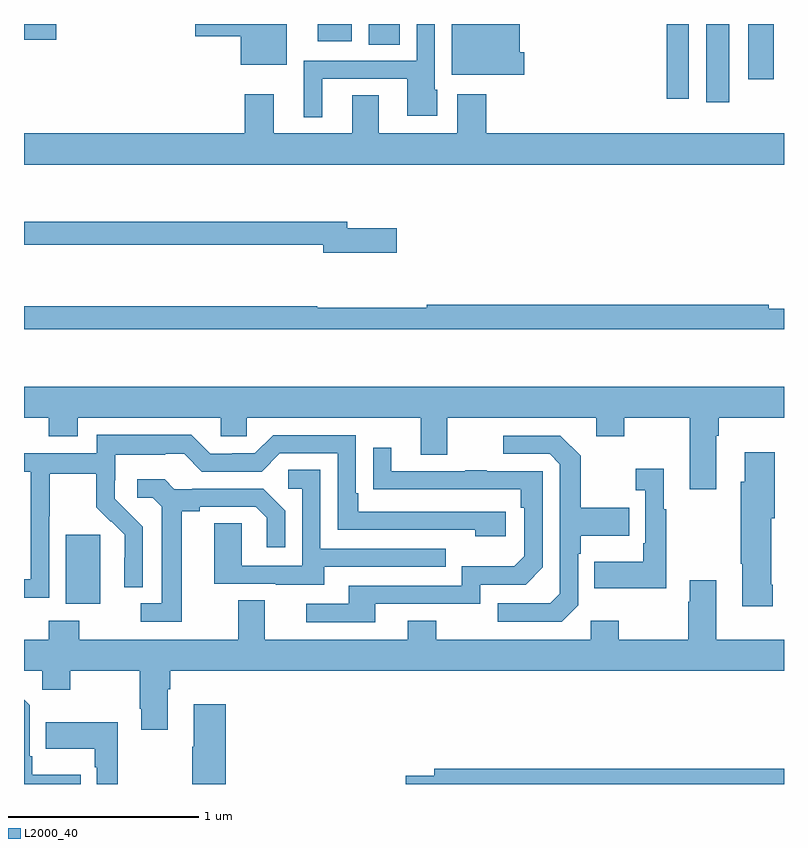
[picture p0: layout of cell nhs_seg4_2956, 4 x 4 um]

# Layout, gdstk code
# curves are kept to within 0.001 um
import gdstk
lib = gdstk.Library(unit=1e-6, precision=1e-09)
def R(c, l, rs):  # rectangles x0, y0, x1, y1
    for r in rs: c.add(gdstk.rectangle(r[:2], r[2:], *l))
def P(c, l, *ps):  # polygons
    for p in ps: c.add(gdstk.Polygon(p, *l))
L2000_40 = (2000, 40)

nhs_seg4_2956 = lib.new_cell('nhs_seg4_2956')
R(nhs_seg4_2956, L2000_40, [(267.221,787.85,267.4,788.211), (270.59,790.488,270.712,790.9), (270.382,790.506,270.498,790.9), (270.812,790.608,270.946,790.9), (268.814,790.792,268.978,790.9), (268.547,790.808,268.726,790.9), (267,790.817,267.169,790.9)])
P(nhs_seg4_2956, L2000_40, [(269.632,790.752),(269.608,790.752),(269.608,790.9),(269.252,790.9),(269.252,790.634),(269.632,790.634)],
  [(268.384,790.9),(267.9,790.9),(267.9,790.835),(268.142,790.835),(268.142,790.685),(268.384,790.685)],
  [(268.57,790.611),(269.018,790.611),(269.018,790.418),(269.176,790.418),(269.176,790.554),(269.163,790.554),(269.163,790.9),(269.067,790.9),(269.067,790.707),(268.472,790.707),(268.472,790.41),(268.57,790.41)],
  [(271,790.324),(269.432,790.324),(269.432,790.531),(269.279,790.531),(269.279,790.324),(268.867,790.324),(268.867,790.526),(268.727,790.526),(268.727,790.324),(268.315,790.324),(268.315,790.531),(268.163,790.531),(268.163,790.324),(267,790.324),(267,790.16),(271,790.16)],
  [(268.963,789.825),(268.702,789.825),(268.702,789.859),(267,789.859),(267,789.738),(268.574,789.738),(268.574,789.695),(268.963,789.695)],
  [(271,789.402),(270.92,789.402),(270.92,789.422),(269.12,789.422),(269.12,789.407),(268.543,789.407),(268.543,789.415),(267,789.415),(267,789.294),(271,789.294)],
  [(270.643,788.732),(270.656,788.732),(270.656,788.828),(271,788.828),(271,788.992),(267,788.992),(267,788.828),(267.131,788.828),(267.131,788.729),(267.283,788.729),(267.283,788.828),(268.035,788.828),(268.035,788.73),(268.173,788.73),(268.173,788.828),(269.087,788.828),(269.087,788.634),(269.227,788.634),(269.227,788.828),(270.011,788.828),(270.011,788.729),(270.159,788.729),(270.159,788.828),(270.503,788.828),(270.503,788.451),(270.643,788.451)],
  [(267.132,788.308),(267.135,788.308),(267.135,788.532),(267.379,788.532),(267.379,788.357),(267.456,788.28),(267.459,788.283),(267.53,788.213),(267.53,788.09),(267.528,788.09),(267.528,787.936),(267.624,787.936),(267.624,788.254),(267.478,788.402),(267.478,788.499),(267.48,788.499),(267.48,788.633),(267.743,788.633),(267.743,788.637),(267.843,788.637),(267.936,788.544),(268.251,788.544),(268.347,788.64),(268.65,788.64),(268.65,788.238),(269.375,788.238),(269.375,788.204),(269.536,788.204),(269.536,788.334),(268.759,788.334),(268.759,788.431),(268.746,788.431),(268.746,788.736),(268.311,788.736),(268.215,788.64),(268.097,788.64),(268.097,788.637),(267.981,788.637),(267.881,788.737),(267.384,788.737),(267.384,788.64),(267,788.64),(267,788.544),(267.036,788.544),(267.036,787.977),(267,787.977),(267,787.879),(267.132,787.879)],
  [(269.916,787.842),(269.916,788.111),(269.929,788.111),(269.929,788.207),(270.185,788.207),(270.185,788.355),(269.929,788.355),(269.929,788.627),(269.823,788.733),(269.523,788.733),(269.523,788.637),(269.766,788.637),(269.82,788.583),(269.82,787.902),(269.769,787.851),(269.493,787.851),(269.493,787.755),(269.829,787.755)],
  [(268.849,787.848),(269.4,787.848),(269.4,787.95),(269.64,787.95),(269.73,788.04),(269.73,788.547),(269.435,788.547),(269.435,788.552),(269.323,788.552),(269.323,788.547),(268.933,788.547),(268.933,788.671),(268.837,788.671),(268.837,788.452),(269.614,788.451),(269.614,788.354),(269.634,788.354),(269.634,788.1),(269.581,788.047),(269.304,788.047),(269.304,787.944),(268.709,787.944),(268.709,787.848),(268.485,787.848),(268.485,787.752),(268.849,787.752)],
  [(270.942,787.948),(270.934,787.948),(270.934,788.298),(270.952,788.298),(270.952,788.647),(270.794,788.647),(270.794,788.49),(270.772,788.49),(270.772,788.059),(270.779,788.059),(270.779,787.836),(270.942,787.836)],
  [(270.379,788.347),(270.367,788.347),(270.367,788.56),(270.219,788.56),(270.219,788.447),(270.27,788.447),(270.27,788.167),(270.258,788.167),(270.258,788.071),(270.001,788.071),(270.001,787.931),(270.379,787.931)],
  [(268.579,788.043),(269.219,788.043),(269.219,788.139),(268.56,788.139),(268.56,788.555),(268.392,788.555),(268.392,788.454),(268.464,788.454),(268.464,788.049),(268.146,788.049),(268.146,788.273),(268.001,788.273),(268.001,787.953),(268.325,787.953),(268.325,787.949),(268.579,787.949)],
  [(267.829,788.336),(267.925,788.336),(267.925,788.358),(268.22,788.358),(268.277,788.301),(268.277,788.145),(268.374,788.145),(268.374,788.338),(268.258,788.454),(267.886,788.454),(267.886,788.451),(267.792,788.451),(267.74,788.503),(267.597,788.503),(267.597,788.406),(267.678,788.406),(267.725,788.359),(267.725,787.851),(267.615,787.851),(267.615,787.755),(267.829,787.755)],
  [(270.503,787.972),(270.503,787.859),(270.496,787.859),(270.496,787.66),(270.129,787.66),(270.129,787.759),(269.982,787.759),(269.982,787.66),(269.169,787.66),(269.169,787.759),(269.021,787.759),(269.021,787.66),(268.267,787.66),(268.267,787.868),(268.127,787.868),(268.127,787.66),(267.291,787.66),(267.291,787.759),(267.131,787.759),(267.131,787.66),(267,787.66),(267,787.496),(267.096,787.496),(267.096,787.397),(267.243,787.397),(267.243,787.496),(267.61,787.496),(267.61,787.297),(267.617,787.297),(267.617,787.185),(267.757,787.185),(267.757,787.4),(267.77,787.4),(267.77,787.496),(271,787.496),(271,787.66),(270.643,787.66),(270.643,787.972)],
  [(267.299,786.949),(267.043,786.949),(267.043,787.045),(267.03,787.045),(267.03,787.314),(267,787.344),(267,786.9),(267.299,786.9)],
  [(268.061,787.321),(267.893,787.321),(267.893,787.097),(267.886,787.097),(267.886,786.9),(268.061,786.9)],
  [(267.493,787.225),(267.115,787.225),(267.115,787.085),(267.372,787.085),(267.372,786.989),(267.384,786.989),(267.384,786.9),(267.493,786.9)],
  [(271,786.98),(269.159,786.98),(269.159,786.944),(269.01,786.944),(269.01,786.9),(271,786.9)])

lib.write_gds('nhs_seg4_2956.gds')
